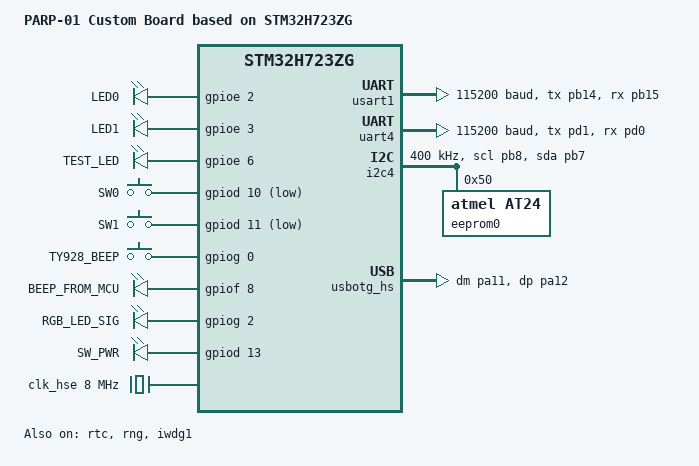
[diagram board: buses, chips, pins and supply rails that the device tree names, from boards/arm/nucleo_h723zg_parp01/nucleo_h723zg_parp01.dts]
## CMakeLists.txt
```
# SPDX-License-Identifier: Apache-2.0

cmake_minimum_required(VERSION 3.20.0)

# Add custom board directory (use list(APPEND) for compatibility with other board roots)
list(APPEND BOARD_ROOT ${CMAKE_CURRENT_LIST_DIR})

find_package(Zephyr REQUIRED HINTS $ENV{ZEPHYR_BASE})
project(parp_01)

target_sources(app PRIVATE
	src/main.c
	src/e310_protocol.c
	src/e310_settings.c
	src/uart_router.c
	src/usb_hid.c
	src/usb_device.c
	src/switch_control.c
	src/shell_login.c
	src/password_storage.c
	src/beep_control.c
	src/rgb_led.c
)
```

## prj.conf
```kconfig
# Application-specific Configuration
# (Board-level hardware configs are in nucleo_h723zg_parp01_defconfig)

# ========================================
# USB Device Stack (New API)
# ========================================
CONFIG_USB_DEVICE_STACK_NEXT=y
CONFIG_USBD_LOG_LEVEL_WRN=y

# UDC buffer pool (increased for HID + CDC ACM composite)
CONFIG_UDC_BUF_COUNT=32
CONFIG_UDC_BUF_POOL_SIZE=4096
# D-cache coherency: USB DMA reads physical memory, not D-cache.
# Without this, STM32H7 D-cache causes intermittent USB data corruption
# (character drops, case errors, transpositions in HID output).
CONFIG_NOCACHE_MEMORY=y
CONFIG_UDC_BUF_FORCE_NOCACHE=y

# ========================================
# Serial & Console (USART1 for early boot printk)
# ========================================
CONFIG_SERIAL=y
CONFIG_CONSOLE=y
CONFIG_UART_CONSOLE=y
CONFIG_UART_LINE_CTRL=y

# ========================================
# USB HID Keyboard + CDC ACM (composite device)
# ========================================
CONFIG_USBD_HID_SUPPORT=y
CONFIG_USBD_CDC_ACM_CLASS=y
CONFIG_CDC_ACM_SERIAL_INITIALIZE_AT_BOOT=n

# ========================================
# Logging
# ========================================
CONFIG_LOG=y
CONFIG_LOG_DEFAULT_LEVEL=3
CONFIG_LOG_MODE_DEFERRED=y
CONFIG_LOG_BUFFER_SIZE=4096
CONFIG_LOG_PROCESS_THREAD_STACK_SIZE=2048

# ========================================
# Shell (USB CDC ACM backend)
# ========================================
CONFIG_SHELL=y
CONFIG_SHELL_BACKEND_SERIAL=y
# CONFIG_SHELL_START_OBSCURED=y  # Disabled for development
CONFIG_SHELL_CMDS_SELECT=y

# ========================================
# GPIO (for buttons and LEDs)
# ========================================
CONFIG_GPIO=y

# ========================================
# Stack sizes (tuned for UART router + parser path)
# ========================================
CONFIG_MAIN_STACK_SIZE=2048
CONFIG_SHELL_STACK_SIZE=3072

# ========================================
# I2C and EEPROM (for password storage)
# ========================================
CONFIG_I2C=y
CONFIG_EEPROM=y
CONFIG_EEPROM_AT24=y


# ========================================
# Watchdog (IWDG - Independent Watchdog)
# ========================================
CONFIG_WATCHDOG=y
CONFIG_WDT_DISABLE_AT_BOOT=y
```

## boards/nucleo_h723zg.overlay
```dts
/*
 * Custom board configuration overlay for PARP-01
 * Based on STM32H723ZG Nucleo board
 */

/ {
	chosen {
		/* Console = UART1 (PB14-TX, PB15-RX) */
		zephyr,console = &usart1;
		zephyr,shell-uart = &usart1;
	};

	/* Custom LEDs */
	leds {
		compatible = "gpio-leds";

		led0: led_0 {
			gpios = <&gpioe 2 GPIO_ACTIVE_HIGH>;
			label = "LED0";
		};

		led1: led_1 {
			gpios = <&gpioe 3 GPIO_ACTIVE_HIGH>;
			label = "LED1";
		};

		test_led: led_test {
			gpios = <&gpioe 6 GPIO_ACTIVE_HIGH>;
			label = "TEST_LED";
		};
	};

	/* Custom GPIO Keys (Switches) */
	gpio_keys {
		compatible = "gpio-keys";

		sw0: switch_0 {
			gpios = <&gpiod 10 GPIO_ACTIVE_LOW>;
			label = "SW0";
		};

		sw1: switch_1 {
			gpios = <&gpiod 11 GPIO_ACTIVE_LOW>;
			label = "SW1";
		};
	};

	aliases {
		led0 = &led0;
		led1 = &led1;
		testled = &test_led;
		sw0 = &sw0;
		sw1 = &sw1;
	};
};

/* Clock Configuration - Custom Board with External Crystals
 * HSE: 8MHz external crystal (NOT bypass - real crystal oscillator)
 * LSE: 32.768kHz external crystal for RTC
 * HSI: Keep enabled as backup
 * HSI48: For USB (matches STM32CubeIDE config)
 */

&clk_hse {
	/delete-property/ hse-bypass;  /* Remove Nucleo's bypass mode */
	clock-frequency = <DT_FREQ_M(8)>;
	status = "okay";
};

&clk_lse {
	clock-frequency = <32768>;
	status = "okay";
};

&clk_lsi {
	status = "okay";
};

&clk_hsi {
	status = "okay";
};

&clk_hsi48 {
	status = "okay";
};

/* PLL Configuration - 400MHz SYSCLK (Stable Configuration)
 *
 * Conservative 400MHz setting for stability:
 *   HSE = 8MHz external crystal
 *   M=4 -> VCO input = 2MHz -> MEDIUM VCO range (150-420MHz)
 *   N=200 -> VCO output = 400MHz -> Within MEDIUM range (safe)
 *   P=1 -> SYSCLK = 400MHz
 *   Q=4 -> 100MHz output for peripherals
 *   R=2 -> 200MHz output
 */
&pll {
	div-m = <4>;
	mul-n = <200>;
	div-p = <1>;
	div-q = <4>;
	div-r = <2>;
	clocks = <&clk_hse>;
	status = "okay";
};

/* RCC Configuration for 400MHz SYSCLK */
&rcc {
	clocks = <&pll>;
	clock-frequency = <DT_FREQ_M(400)>;
	d1cpre = <1>;
	hpre = <2>;    /* HCLK: 200 MHz */
	d1ppre = <2>;  /* APB1: 100 MHz */
	d2ppre1 = <2>; /* APB2: 100 MHz */
	d2ppre2 = <2>; /* APB3: 100 MHz */
	d3ppre = <2>;  /* APB4: 100 MHz */
};

/* UART1 - Console (PB14-TX, PB15-RX) with TX/RX swapped */
&usart1 {
	pinctrl-0 = <&usart1_tx_pb14 &usart1_rx_pb15>;
	pinctrl-names = "default";
	current-speed = <115200>;
	tx-rx-swap;
	status = "okay";
};

/* UART4 (PD0-RX, PD1-TX) */
&uart4 {
	pinctrl-0 = <&uart4_tx_pd1 &uart4_rx_pd0>;
	pinctrl-names = "default";
	current-speed = <115200>;
	status = "okay";
};

/* UART5 (PB6-TX, PB5-RX) */
&uart5 {
	pinctrl-0 = <&uart5_tx_pb6 &uart5_rx_pb5>;
	pinctrl-names = "default";
	current-speed = <115200>;
	status = "okay";
};

/* I2C4 (PB8-SCL, PB7-SDA) */
&i2c4 {
	pinctrl-0 = <&i2c4_scl_pb8 &i2c4_sda_pb7>;
	pinctrl-names = "default";
	status = "okay";
	clock-frequency = <I2C_BITRATE_FAST>; /* 400kHz */

	/* M24C64 EEPROM - 64Kbit (8KB) */
	eeprom0: m24c64@50 {
		compatible = "atmel,at24";
		reg = <0x50>;
		size = <8192>; /* 8KB = 64Kbit */
		pagesize = <32>; /* M24C64 has 32-byte page size */
		address-width = <16>; /* 16-bit addressing for 8KB */
		timeout = <5>;
	};
};

/* SDMMC1 (PC8-D0, PC9-D1, PC10-D2, PC11-D3, PD2-CMD, PC12-CK, PA8-DT) */
&sdmmc1 {
	status = "disabled";
};

/* USB OTG HS (PA9-VBUS, PA11-DM, PA12-DP) */
zephyr_udc0: &usbotg_hs {
	pinctrl-0 = <&usb_otg_hs_dm_pa11 &usb_otg_hs_dp_pa12>;
	pinctrl-names = "default";
	status = "okay";
};

/* RTC with LSE as clock source */
&rtc {
	clocks = <&rcc STM32_CLOCK_BUS_APB4 0x00010000>,
		 <&rcc STM32_SRC_LSE RTC_SEL(1)>; /* Use LSE instead of LSI */
	status = "okay";
};

/* Backup SRAM */
&backup_sram {
	status = "okay";
};

/* Random Number Generator */
&rng {
	status = "okay";
};

/* Disable unused peripherals from base board configuration */

/* Disable USART2 (not used) */
&usart2 {
	status = "disabled";
};

/* Disable USART3 (was default console on Nucleo) */
&usart3 {
	status = "disabled";
};

/* Disable LPUART1 (not used) */
&lpuart1 {
	status = "disabled";
};

/* Disable I2C1 (using I2C4 instead) */
&i2c1 {
	status = "disabled";
};

/* Disable SPI1 (not used) */
&spi1 {
	status = "disabled";
};

/* Disable Ethernet (not used) */
&mac {
	status = "disabled";
};

&mdio {
	status = "disabled";
};

/* Disable FDCAN1 (not used) */
&fdcan1 {
	status = "disabled";
};

/* Disable PWM/Timer12 (not used) */
&timers12 {
	status = "disabled";
};

&pwm12 {
	status = "disabled";
};
```

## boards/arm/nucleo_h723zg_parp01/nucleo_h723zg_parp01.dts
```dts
/dts-v1/;

#include <st/h7/stm32h723Xg.dtsi>
#include <st/h7/stm32h723zgtx-pinctrl.dtsi>
#include <zephyr/dt-bindings/input/input-event-codes.h>

/ {
	model = "PARP-01 Custom Board based on STM32H723ZG";
	compatible = "st,stm32h723zg-nucleo";

	chosen {
		zephyr,console = &usart1;
		zephyr,shell-uart = &cdc_acm_uart0;
		zephyr,sram = &sram0;
		zephyr,flash = &flash0;
		zephyr,dtcm = &dtcm;
		zephyr,code-partition = &slot0_partition;
	};

	/* Custom LEDs */
	leds {
		compatible = "gpio-leds";

		led0: led_0 {
			gpios = <&gpioe 2 GPIO_ACTIVE_HIGH>;
			label = "LED0";
		};

		led1: led_1 {
			gpios = <&gpioe 3 GPIO_ACTIVE_HIGH>;
			label = "LED1";
		};

		test_led: led_test {
			gpios = <&gpioe 6 GPIO_ACTIVE_HIGH>;
			label = "TEST_LED";
		};
	};

	/* Custom GPIO Keys (Switches) */
	gpio_keys {
		compatible = "gpio-keys";

		sw0: switch_0 {
			gpios = <&gpiod 10 (GPIO_ACTIVE_LOW | GPIO_PULL_UP)>;
			label = "SW0";
			zephyr,code = <INPUT_KEY_0>;
		};

		sw1: switch_1 {
			gpios = <&gpiod 11 (GPIO_ACTIVE_LOW | GPIO_PULL_UP)>;
			label = "SW1";
			zephyr,code = <INPUT_KEY_1>;
		};

		e310_beep: e310_beep {
			gpios = <&gpiog 0 GPIO_ACTIVE_HIGH>;
			label = "TY928_BEEP";
			zephyr,code = <INPUT_KEY_2>;
		};
	};

	/* DI/DO pins for beeper and RGB LED */
	dio {
		compatible = "gpio-leds";

		beep_out: beep_out {
			gpios = <&gpiof 8 GPIO_ACTIVE_HIGH>;
			label = "BEEP_FROM_MCU";
		};

		rgb_led_sig: rgb_led_sig {
			gpios = <&gpiog 2 GPIO_ACTIVE_HIGH>;
			label = "RGB_LED_SIG";
		};

		/* PD13 - Switch power supply (must output LOW for SW0/SW1) */
		sw_pwr: sw_pwr {
			gpios = <&gpiod 13 GPIO_ACTIVE_HIGH>;
			label = "SW_PWR";
		};
	};

	aliases {
		led0 = &led0;
		led1 = &led1;
		testled = &test_led;
		sw0 = &sw0;
		sw1 = &sw1;
		eeprom-0 = &eeprom0;
		beep-out = &beep_out;
		rgb-led = &rgb_led_sig;
		e310-beep = &e310_beep;
		sw-pwr = &sw_pwr;
		watchdog0 = &iwdg1;
	};
};

/* Clock Configuration - Custom Board with External Crystals
 * HSE: 8MHz external crystal (NOT bypass - real crystal oscillator)
 * LSE: Not available on this board (disabled)
 * HSI: Keep enabled as backup
 * HSI48: For USB (matches STM32CubeIDE config)
 */

&clk_hse {
	clock-frequency = <DT_FREQ_M(8)>;
	status = "okay";
};

&clk_lse {
	clock-frequency = <32768>;
	status = "disabled";
};

&clk_lsi {
	status = "okay";
};

&clk_hsi {
	status = "okay";
};

&clk_hsi48 {
	status = "okay";
};

/* PLL Configuration - 550MHz SYSCLK (Same as official Nucleo H723ZG)
 *
 * STM32H723 Maximum Frequencies:
 *   - SYSCLK max: 550 MHz
 *   - AHB max: 275 MHz
 *   - APBx max: 137.5 MHz
 *
 * Configuration:
 *   HSE = 8MHz external crystal
 *   M=4 -> VCO input = 2MHz
 *   N=275 -> VCO output = 550MHz
 *   P=1 -> SYSCLK = 550MHz
 *   Q=4 -> 137.5MHz output for peripherals
 *   R=2 -> 275MHz output
 */
&pll {
	div-m = <4>;
	mul-n = <275>;
	div-p = <1>;
	div-q = <4>;
	div-r = <2>;
	clocks = <&clk_hse>;
	status = "okay";
};

/* RCC Configuration for 550MHz SYSCLK (Same as official Nucleo H723ZG)
 *
 * SYSCLK = 550 MHz
 * HCLK = SYSCLK / 2 = 275 MHz
 * APBx = HCLK / 2 = 137.5 MHz
 */
&rcc {
	clocks = <&pll>;
	clock-frequency = <DT_FREQ_M(550)>;
	d1cpre = <1>;
	hpre = <2>;    /* HCLK = SYSCLK / 2 = 275 MHz */
	d1ppre = <2>;  /* APB3 = HCLK / 2 = 137.5 MHz */
	d2ppre1 = <2>; /* APB1 = HCLK / 2 = 137.5 MHz */
	d2ppre2 = <2>; /* APB2 = HCLK / 2 = 137.5 MHz (USART1) */
	d3ppre = <2>;  /* APB4 = HCLK / 2 = 137.5 MHz */
};

/* Power supply configuration */
&pwr {
	power-supply = "ldo";
};

/* UART1 - Console (PB14-TX, PB15-RX) */
&usart1 {
	pinctrl-0 = <&usart1_tx_pb14 &usart1_rx_pb15>;
	pinctrl-names = "default";
	current-speed = <115200>;
	status = "okay";
};

/* UART4 (PD0-RX, PD1-TX) */
&uart4 {
	pinctrl-0 = <&uart4_tx_pd1 &uart4_rx_pd0>;
	pinctrl-names = "default";
	current-speed = <115200>;
	status = "okay";
};

/* I2C4 (PB8-SCL, PB7-SDA) */
&i2c4 {
	pinctrl-0 = <&i2c4_scl_pb8 &i2c4_sda_pb7>;
	pinctrl-names = "default";
	status = "okay";
	clock-frequency = <I2C_BITRATE_FAST>; /* 400kHz */

	/* M24C64 EEPROM - 64Kbit (8KB) */
	eeprom0: m24c64@50 {
		compatible = "atmel,at24";
		reg = <0x50>;
		size = <8192>; /* 8KB = 64Kbit */
		pagesize = <32>; /* M24C64 has 32-byte page size */
		address-width = <16>; /* 16-bit addressing for 8KB */
		timeout = <5>;
	};
};

/* SDMMC1 (PC8-D0, PC9-D1, PC10-D2, PC11-D3, PD2-CMD, PC12-CK, PA8-DT) */
&sdmmc1 {
	status = "disabled";
};

/* USB OTG HS (PA9-VBUS, PA11-DM, PA12-DP) */
zephyr_udc0: &usbotg_hs {
	pinctrl-0 = <&usb_otg_hs_dm_pa11 &usb_otg_hs_dp_pa12>;
	pinctrl-names = "default";
	status = "okay";

	hid_0: hid_0 {
		compatible = "zephyr,hid-device";
		label = "HID_KEYBOARD";
		protocol-code = "keyboard";
		in-report-size = <8>;
		out-report-size = <1>;
		in-polling-period-us = <1000>;
		out-polling-period-us = <1000>;
	};

	/* USB CDC ACM for Shell/Console (composite with HID) */
	cdc_acm_uart0: cdc_acm_uart0 {
		compatible = "zephyr,cdc-acm-uart";
	};
};

/* RTC with LSI as clock source (LSE not available on this board) */
&rtc {
	clocks = <&rcc STM32_CLOCK_BUS_APB4 0x00010000>,
		 <&rcc STM32_SRC_LSI RTC_SEL(2)>;
	status = "okay";
};

/* Backup SRAM */
&backup_sram {
	status = "okay";
};

/* Random Number Generator */
&rng {
	status = "okay";
};


/* Independent Watchdog (IWDG) */
&iwdg1 {
	status = "okay";
};

/* Flash partitions */
&flash0 {
	partitions {
		compatible = "fixed-partitions";
		#address-cells = <1>;
		#size-cells = <1>;

		slot0_partition: partition@0 {
			label = "image-0";
			reg = <0x00000000 DT_SIZE_K(1024)>;
		};
	};
};

/* Disable unused peripherals */

/* Disable USART2 (not used) */
&usart2 {
	status = "disabled";
};

/* Disable USART3 (not used) */
&usart3 {
	status = "disabled";
};

/* Disable LPUART1 (not used) */
&lpuart1 {
	status = "disabled";
};

/* Disable I2C1 (using I2C4 instead) */
&i2c1 {
	status = "disabled";
};

/* Disable SPI1 (not used) */
&spi1 {
	status = "disabled";
};

/* Disable Ethernet (not used) */
&mac {
	status = "disabled";
};

&mdio {
	status = "disabled";
};

/* Disable FDCAN1 (not used) */
&fdcan1 {
	status = "disabled";
};
```

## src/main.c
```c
/*
 * PARP-01 Application
 * - Console/Shell output via USART1 (PB14-TX, PB15-RX)
 * - USB HID Keyboard for EPC output
 * - LED blink on PE6 (TEST_LED)
 * - E310 RFID Protocol Library Testing
 * - SW0 button for inventory control
 * - Shell login security
 */

#include <zephyr/kernel.h>
#include <zephyr/drivers/gpio.h>
#include <zephyr/logging/log.h>
#include <zephyr/usb/usbd.h>
#include <zephyr/shell/shell.h>
#include <zephyr/shell/shell_uart.h>
#include <zephyr/drivers/watchdog.h>

#include <stm32_ll_bus.h>
#include <stm32_ll_pwr.h>

#include "usb_device.h"
#include "usb_hid.h"
#include "uart_router.h"
#include "switch_control.h"
#include "shell_login.h"
#include "password_storage.h"
#include "beep_control.h"
#include "rgb_led.h"
#include "e310_settings.h"

LOG_MODULE_REGISTER(parp01, LOG_LEVEL_INF);

/* E310 Protocol Library Test */
extern void e310_run_tests(void);

static struct usbd_context *usb_ctx;
static uart_router_t uart_router;

/**
 * @brief USB OTG HS pre-init workaround for STM32H723
 *
 * Performs an RCC peripheral reset of the USB OTG HS block before the
 * Zephyr UDC driver initializes it.  This clears stale register state
 * left over from a previous boot or soft-reset, which can cause
 * USB_CoreReset() inside HAL_PCD_Init() to time out waiting for the
 * GRSTCTL.AHBIDL or GRSTCTL.CSRST bits.
 *
 * This is a known issue on STM32H7 series:
 *   - https://github.com/STMicroelectronics/STM32CubeH7/issues/163
 *   - ST FAQ: "Troubleshooting a USB core soft reset stuck on an STM32"
 *
 * Must be called BEFORE usbd_enable().
 */
static void usb_otg_hs_pre_init(void)
{
	LL_AHB1_GRP1_EnableClock(LL_AHB1_GRP1_PERIPH_USB1OTGHS);
	LL_AHB1_GRP1_ForceReset(LL_AHB1_GRP1_PERIPH_USB1OTGHS);
	k_busy_wait(10);
	LL_AHB1_GRP1_ReleaseReset(LL_AHB1_GRP1_PERIPH_USB1OTGHS);
	k_busy_wait(100);

	printk("USB OTG HS peripheral reset done\n");
}

/**
 * @brief Print application banner
 */
static void print_banner(void)
{
	printk("\n");
	printk("========================================\n");
	printk("  PARP-01 Custom Board Application\n");
	printk("========================================\n");
	printk("SYSCLK: 550 MHz, HCLK: 275 MHz\n");
	printk("Console: USART1 (PB14-TX, PB15-RX)\n");
	printk("LED: PE6 (TEST_LED)\n");
	printk("SW0: Inventory On/Off toggle\n");
	printk("========================================\n");
	printk("\n");
}

static void usb_msg_cb(struct usbd_context *const ctx,
		       const struct usbd_msg *const msg)
{
	LOG_INF("USBD message: %s", usbd_msg_type_string(msg->type));

	if (usbd_can_detect_vbus(ctx)) {
		if (msg->type == USBD_MSG_VBUS_READY) {
			if (usbd_enable(ctx)) {
				LOG_ERR("Failed to enable USB device");
			}
		}

		if (msg->type == USBD_MSG_VBUS_REMOVED) {
			if (usbd_disable(ctx)) {
				LOG_ERR("Failed to disable USB device");
			}
		}
	}
}

/**
 * @brief Inventory toggle callback from switch
 *
 * Called when SW0 is pressed to toggle inventory on/off.
 * - Inventory ON:  HID keyboard enabled (RFID pad mode)
 * - Inventory OFF: HID keyboard disabled (Debug mode)
 */
static void on_inventory_toggle(bool start)
{
	if (start) {
		shell_login_force_logout();
		int ret = uart_router_start_inventory(&uart_router);
		if (ret < 0) {
			switch_control_set_inventory_state(false);
			rgb_led_set_inventory_status(false);
			LOG_ERR("Inventory start failed: %d", ret);
		}
	} else {
		uart_router_stop_inventory(&uart_router);
		uart_router_set_mode(&uart_router, ROUTER_MODE_IDLE);
	}
}

/* LED device tree reference */
#define TEST_LED_NODE DT_ALIAS(testled)

#if !DT_NODE_EXISTS(TEST_LED_NODE)
#error "testled alias not found in device tree. Please define it in board DTS."
#endif

static const struct gpio_dt_spec test_led = GPIO_DT_SPEC_GET(TEST_LED_NODE, gpios);

int main(void)
{
	int ret;
	bool led_state = false;
	bool last_inv_state = false;
	int64_t last_led_toggle = 0;

	/* === EARLY DEBUG: Print immediately to verify boot === */
	printk("\n\n*** PARP-01 BOOT START ***\n");

	/* Configure LED GPIO first (before any USB init) */
	if (!gpio_is_ready_dt(&test_led)) {
		printk("ERROR: LED GPIO not ready!\n");
		LOG_ERR("LED GPIO device not ready");
		k_sleep(K_FOREVER);
		return -ENODEV;
	}
	printk("LED GPIO ready\n");

	ret = gpio_pin_configure_dt(&test_led, GPIO_OUTPUT_INACTIVE);
	if (ret < 0) {
		printk("ERROR: LED config failed: %d\n", ret);
		LOG_ERR("Failed to configure LED GPIO: %d", ret);
		k_sleep(K_FOREVER);
		return ret;
	}
	printk("LED configured\n");

	/* === Watchdog (IWDG) === */
	const struct device *const wdt = DEVICE_DT_GET(DT_ALIAS(watchdog0));
	int wdt_channel_id = -1;

	if (!device_is_ready(wdt)) {
		printk("ERROR: Watchdog device not ready!\n");
		LOG_ERR("Watchdog device not ready");
	} else {
		struct wdt_timeout_cfg wdt_config = {
			.flags = WDT_FLAG_RESET_SOC,
			.window.min = 0U,
			.window.max = 2000U,
			.callback = NULL,
		};

		wdt_channel_id = wdt_install_timeout(wdt, &wdt_config);
		if (wdt_channel_id < 0) {
			printk("ERROR: WDT install timeout failed: %d\n", wdt_channel_id);
			LOG_ERR("WDT install timeout failed: %d", wdt_channel_id);
		} else {
			ret = wdt_setup(wdt, WDT_OPT_PAUSE_HALTED_BY_DBG);
			if (ret < 0) {
				printk("ERROR: WDT setup failed: %d\n", ret);
				LOG_ERR("WDT setup failed: %d", ret);
				wdt_channel_id = -1;
			} else {
				printk("Watchdog started (2000 ms timeout)\n");
				LOG_INF("IWDG watchdog active: 2000 ms timeout");
			}
		}
	}

	/* Blink LED once to show we're alive */
	gpio_pin_set_dt(&test_led, 1);
	k_msleep(200);
	gpio_pin_set_dt(&test_led, 0);
	printk("LED blinked once\n");

	/* Reset USB OTG HS peripheral BEFORE stack init to clear stale state */
	usb_otg_hs_pre_init();

	printk("Init USB HID...\n");
	ret = parp_usb_hid_init();
	if (ret < 0) {
		printk("USB HID init failed: %d (continuing anyway)\n", ret);
		LOG_ERR("Failed to init USB HID: %d", ret);
	} else {
		printk("USB HID OK\n");
	}

	printk("Init USB device stack...\n");
	usb_ctx = usb_device_init(usb_msg_cb);
	if (!usb_ctx) {
		printk("USB device init failed (continuing anyway)\n");
		LOG_ERR("Failed to initialize USB device stack");
	} else {
		printk("USB device stack OK\n");

		if (!usbd_can_detect_vbus(usb_ctx)) {
			ret = usbd_enable(usb_ctx);
			if (ret) {
				printk("USB enable failed: %d\n", ret);
				LOG_ERR("Failed to enable USB device: %d", ret);
			} else {
				printk("USB enabled\n");
			}
		}
	}

	/* Initialize UART router */
	printk("Init UART router...\n");
	ret = uart_router_init(&uart_router);
	if (ret < 0) {
		printk("UART router init failed: %d (continuing anyway)\n", ret);
		LOG_ERR("Failed to init UART router: %d", ret);
	} else {
		printk("UART router OK\n");
		ret = uart_router_start(&uart_router);
		if (ret < 0) {
			printk("UART router start failed: %d\n", ret);
			LOG_ERR("Failed to start UART router: %d", ret);
		} else {
			printk("UART router started\n");
		}
	}

	/* Initialize switch control */
	ret = switch_control_init();
	if (ret < 0) {
		LOG_WRN("Switch control init failed: %d (SW0 won't work)", ret);
	} else {
		switch_control_set_inventory_callback(on_inventory_toggle);
	}

	/* Initialize password storage (must be before shell_login_init) */
	ret = password_storage_init();
	if (ret < 0) {
		LOG_WRN("Password storage init failed: %d", ret);
	}

	ret = e310_settings_init();
	if (ret < 0) {
		LOG_WRN("E310 settings init failed: %d (using defaults)", ret);
	}

	/* Apply persisted typing speed to USB HID */
	uint16_t saved_speed = e310_settings_get_typing_speed();
	if (saved_speed >= HID_TYPING_SPEED_MIN && saved_speed <= HID_TYPING_SPEED_MAX) {
		usb_hid_set_typing_speed(saved_speed);
		LOG_INF("Typing speed loaded from EEPROM: %u CPM", saved_speed);
	}

	/* Initialize shell login - locks shell until 'login <password>' */
	/* TODO: Re-enable for production */
#if 0
	ret = shell_login_init();
	if (ret < 0) {
		LOG_WRN("Shell login init failed: %d", ret);
	}
#endif

	/* Initialize beep control */
	ret = beep_control_init();
	if (ret < 0) {
		LOG_WRN("Beep control init failed: %d (beeper won't work)", ret);
	}

	/* Initialize RGB LED */
	ret = rgb_led_init();
	if (ret < 0) {
		LOG_WRN("RGB LED init failed: %d", ret);
	} else {
		rgb_led_set_inventory_status(false);
	}


	/* Apply remaining persisted settings (modules must be initialized first) */
	beep_control_set_pulse_ms(e310_settings_get_beep_pulse());
	beep_control_set_filter_ms(e310_settings_get_beep_filter());
	uart_router.epc_filter.debounce_ms =
		(uint32_t)e310_settings_get_epc_debounce() * 1000;
	uart_router.inventory_interval_ms =
		e310_settings_get_inventory_interval();
	rgb_led_set_brightness(e310_settings_get_rgb_brightness());
	LOG_INF("Persisted settings applied from EEPROM");

	print_banner();

	/* E310 tests disabled - was causing stack overflow
	e310_run_tests();
	printk("\n");
	*/

	/* Deferred auto-start: wait for USB HID ready, then connect E310.
	 * Must run inside main loop so uart_router_process() is active
	 * and can parse E310 responses (wait_for_e310_response depends on it). */
	bool auto_started = false;
	int64_t usb_ready_since = 0;
	const int64_t boot_time = k_uptime_get();
	#define AUTO_START_USB_SETTLE_MS  2000
	#define AUTO_START_MAX_WAIT_MS   15000

	LOG_INF("Starting main loop (auto-start after USB ready, SW0 to toggle)");

	while (1) {
		uart_router_process(&uart_router);
		rgb_led_poll();
		k_msleep(10);

		/* Feed watchdog every loop iteration (~10 ms) */
		if (wdt_channel_id >= 0) {
			wdt_feed(wdt, wdt_channel_id);
		}

		int64_t now = k_uptime_get();

		if (!auto_started) {
			bool usb_ready = usb_hid_is_ready();
			int64_t elapsed = now - boot_time;

			if (usb_ready && usb_ready_since == 0) {
				usb_ready_since = now;
				LOG_INF("USB HID ready, E310 auto-start in %d ms",
					AUTO_START_USB_SETTLE_MS);
			}

			bool usb_trigger = usb_ready_since > 0 &&
				(now - usb_ready_since) >= AUTO_START_USB_SETTLE_MS;
			bool timeout_trigger = elapsed >= AUTO_START_MAX_WAIT_MS;

			if (usb_trigger || timeout_trigger) {
				auto_started = true;
				if (timeout_trigger && !usb_trigger) {
					LOG_WRN("USB HID not ready after %lld ms, "
						 "starting E310 anyway", elapsed);
				}
				LOG_INF("Auto-starting E310 inventory...");
				ret = uart_router_start_inventory(&uart_router);
				if (ret < 0) {
					LOG_WRN("E310 auto-start failed: %d "
						 "(use SW0 or 'e310 start')", ret);
					uart_router_set_mode(&uart_router,
							     ROUTER_MODE_IDLE);
					switch_control_set_inventory_state(false);
					rgb_led_set_inventory_status(false);
				}
			}
		}

		static int64_t last_login_check = 0;
		if (now - last_login_check >= 100) {
			last_login_check = now;
			shell_login_check_timeout();
		}

		/* Toggle LED every 500ms */
		if ((now - last_led_toggle) >= 500) {
			last_led_toggle = now;

			led_state = !led_state;
			ret = gpio_pin_set_dt(&test_led, led_state);
			if (ret < 0) {
				LOG_WRN("Failed to set LED state: %d", ret);
			}
		}

		/* Print only on inventory state change */
		bool cur_inv_state = switch_control_is_inventory_running();
		if (cur_inv_state != last_inv_state) {
			last_inv_state = cur_inv_state;
			printk("Inventory: %s\n", cur_inv_state ? "ON" : "OFF");
		}
	}

	return 0;
}
```

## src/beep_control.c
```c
/**
 * @file beep_control.c
 * @brief Beeper Control Implementation
 *
 * @copyright Copyright (c) 2026 PARP
 */

#include "beep_control.h"
#include <zephyr/kernel.h>
#include <zephyr/device.h>
#include <zephyr/drivers/gpio.h>
#include <zephyr/logging/log.h>
#include <zephyr/shell/shell.h>
#include <stdlib.h>
#include "e310_settings.h"

LOG_MODULE_REGISTER(beep_control, LOG_LEVEL_INF);

/* Device tree references */
#define BEEP_OUT_NODE DT_ALIAS(beep_out)
#define E310_BEEP_NODE DT_ALIAS(e310_beep)

#if !DT_NODE_EXISTS(BEEP_OUT_NODE)
#error "beep-out alias not found in device tree"
#endif

#if !DT_NODE_EXISTS(E310_BEEP_NODE)
#error "e310-beep alias not found in device tree"
#endif

static const struct gpio_dt_spec beep_out = GPIO_DT_SPEC_GET(BEEP_OUT_NODE, gpios);
static const struct gpio_dt_spec e310_beep = GPIO_DT_SPEC_GET(E310_BEEP_NODE, gpios);

/* State variables */
static uint16_t beep_pulse_ms = BEEP_DEFAULT_PULSE_MS;
static uint16_t beep_filter_ms = BEEP_DEFAULT_FILTER_MS;
static bool e310_input_enabled = true;
static uint32_t beep_count;
static int64_t last_beep_time;
/* Initialization flag - volatile for ISR/main thread synchronization */
static volatile bool initialized;

/* GPIO callback for E310 input */
static struct gpio_callback e310_beep_cb_data;

/* Work queue for beep pulse */
static struct k_work_delayable beep_off_work;
static struct k_work beep_trigger_work;

/**
 * @brief Turn off beeper (work handler)
 */
static void beep_off_handler(struct k_work *work)
{
	ARG_UNUSED(work);
	gpio_pin_set_dt(&beep_out, 0);
}

/**
 * @brief Execute beep pulse (work handler for ISR context)
 */
static void beep_trigger_handler(struct k_work *work)
{
	ARG_UNUSED(work);

	int64_t now = k_uptime_get();

	/* Apply duplicate filter */
	if ((now - last_beep_time) < beep_filter_ms) {
		LOG_DBG("Beep filtered (within %u ms window)", beep_filter_ms);
		return;
	}

	last_beep_time = now;
	beep_count++;

	/* Turn on beeper */
	gpio_pin_set_dt(&beep_out, 1);

	/* Schedule turn off */
	k_work_schedule(&beep_off_work, K_MSEC(beep_pulse_ms));

	LOG_DBG("Beep triggered (count=%u, pulse=%u ms)", beep_count, beep_pulse_ms);
}

/**
 * @brief E310 beep input interrupt callback (PG0 rising edge)
 */
static void e310_beep_isr(const struct device *dev,
			  struct gpio_callback *cb, uint32_t pins)
{
	ARG_UNUSED(dev);
	ARG_UNUSED(cb);
	ARG_UNUSED(pins);

	if (!e310_input_enabled) {
		return;
	}

	/* Schedule beep trigger from work queue (not ISR context) */
	k_work_submit(&beep_trigger_work);
}

int beep_control_init(void)
{
	int ret;

	/* Check beep output GPIO */
	if (!gpio_is_ready_dt(&beep_out)) {
		LOG_ERR("Beep output GPIO device not ready");
		return -ENODEV;
	}

	/* Configure beep output as LOW initially */
	ret = gpio_pin_configure_dt(&beep_out, GPIO_OUTPUT_INACTIVE);
	if (ret < 0) {
		LOG_ERR("Failed to configure beep output GPIO: %d", ret);
		return ret;
	}

	/* Check E310 beep input GPIO */
	if (!gpio_is_ready_dt(&e310_beep)) {
		LOG_ERR("E310 beep input GPIO device not ready");
		return -ENODEV;
	}

	/* Configure E310 beep input */
	ret = gpio_pin_configure_dt(&e310_beep, GPIO_INPUT);
	if (ret < 0) {
		LOG_ERR("Failed to configure E310 beep input GPIO: %d", ret);
		return ret;
	}

	/*
	 * IMPORTANT: Register callback BEFORE enabling interrupt.
	 * This prevents spurious interrupts from being missed or
	 * causing undefined behavior if an edge occurs immediately.
	 */

	/* 1. Initialize and add GPIO callback first */
	gpio_init_callback(&e310_beep_cb_data, e310_beep_isr, BIT(e310_beep.pin));
	ret = gpio_add_callback(e310_beep.port, &e310_beep_cb_data);
	if (ret < 0) {
		LOG_ERR("Failed to add E310 beep callback: %d", ret);
		return ret;
	}

	/* 2. Then configure interrupt on rising edge (E310 outputs HIGH when tag read) */
	ret = gpio_pin_interrupt_configure_dt(&e310_beep, GPIO_INT_EDGE_TO_ACTIVE);
	if (ret < 0) {
		LOG_ERR("Failed to configure E310 beep interrupt: %d", ret);
		gpio_remove_callback(e310_beep.port, &e310_beep_cb_data);
		return ret;
	}

	/* Initialize work items */
	k_work_init_delayable(&beep_off_work, beep_off_handler);
	k_work_init(&beep_trigger_work, beep_trigger_handler);

	initialized = true;

	LOG_INF("Beep control initialized");
	LOG_INF("  Output: PF8 (BEEP_FROM_MCU)");
	LOG_INF("  Input: PG0 (TY928_BEEP from E310)");
	LOG_INF("  Pulse: %u ms, Filter: %u ms", beep_pulse_ms, beep_filter_ms);

	return 0;
}

void beep_control_trigger(void)
{
	if (!initialized) {
		return;
	}

	/* Use work queue for thread safety */
	k_work_submit(&beep_trigger_work);
}

void beep_control_trigger_force(void)
{
	if (!initialized) {
		return;
	}

	/*
	 * Direct trigger bypassing filter.
	 * Use irq_lock to prevent race condition with ISR context
	 * accessing beep_count and last_beep_time.
	 */
	unsigned int key = irq_lock();
	beep_count++;
	last_beep_time = k_uptime_get();
	irq_unlock(key);

	gpio_pin_set_dt(&beep_out, 1);
	k_work_schedule(&beep_off_work, K_MSEC(beep_pulse_ms));

	LOG_DBG("Beep forced (count=%u)", beep_count);
}

void beep_control_set_pulse_ms(uint16_t ms)
{
	if (ms < BEEP_MIN_PULSE_MS) {
		ms = BEEP_MIN_PULSE_MS;
	} else if (ms > BEEP_MAX_PULSE_MS) {
		ms = BEEP_MAX_PULSE_MS;
	}
	beep_pulse_ms = ms;
	LOG_INF("Beep pulse set to %u ms", beep_pulse_ms);
}

uint16_t beep_control_get_pulse_ms(void)
{
	return beep_pulse_ms;
}

void beep_control_set_filter_ms(uint16_t ms)
{
	if (ms < BEEP_MIN_FILTER_MS) {
		ms = BEEP_MIN_FILTER_MS;
	} else if (ms > BEEP_MAX_FILTER_MS) {
		ms = BEEP_MAX_FILTER_MS;
	}
	beep_filter_ms = ms;
	LOG_INF("Beep filter set to %u ms", beep_filter_ms);
}

uint16_t beep_control_get_filter_ms(void)
{
	return beep_filter_ms;
}

void beep_control_enable_e310_input(bool enable)
{
	e310_input_enabled = enable;
	LOG_INF("E310 beep input %s", enable ? "enabled" : "disabled");
}

bool beep_control_is_e310_input_enabled(void)
{
	return e310_input_enabled;
}

uint32_t beep_control_get_count(void)
{
	return beep_count;
}

void beep_control_reset_count(void)
{
	beep_count = 0;
}

/* ========================================================================
 * Shell Commands
 * ======================================================================== */

static int cmd_beep_test(const struct shell *sh, size_t argc, char **argv)
{
	ARG_UNUSED(argc);
	ARG_UNUSED(argv);

	if (!initialized) {
		shell_error(sh, "Beep control not initialized");
		return -ENODEV;
	}

	beep_control_trigger_force();
	shell_print(sh, "Beep test triggered (pulse=%u ms)", beep_pulse_ms);

	return 0;
}

static int cmd_beep_pulse(const struct shell *sh, size_t argc, char **argv)
{
	if (argc < 2) {
		shell_print(sh, "Current pulse width: %u ms", beep_pulse_ms);
		shell_print(sh, "Usage: beep pulse <10-1000>");
		return 0;
	}

	int ms = atoi(argv[1]);
	if (ms < BEEP_MIN_PULSE_MS || ms > BEEP_MAX_PULSE_MS) {
		shell_error(sh, "Invalid pulse: %d (must be %d-%d)",
			    ms, BEEP_MIN_PULSE_MS, BEEP_MAX_PULSE_MS);
		return -EINVAL;
	}

	beep_control_set_pulse_ms((uint16_t)ms);
	/* Persist to EEPROM */
	int ret = e310_settings_set_beep_pulse((uint16_t)ms);
	shell_print(sh, "Pulse width set to %u ms%s",
		    beep_pulse_ms, (ret < 0) ? "" : " (saved)");
	if (ret < 0) {
		shell_warn(sh, "EEPROM save failed: %d (change is temporary)", ret);
	}

	return 0;
}

static int cmd_beep_filter(const struct shell *sh, size_t argc, char **argv)
{
	if (argc < 2) {
		shell_print(sh, "Current filter time: %u ms", beep_filter_ms);
		shell_print(sh, "Usage: beep filter <100-10000>");
		return 0;
	}

	int ms = atoi(argv[1]);
	if (ms < BEEP_MIN_FILTER_MS || ms > BEEP_MAX_FILTER_MS) {
		shell_error(sh, "Invalid filter: %d (must be %d-%d)",
			    ms, BEEP_MIN_FILTER_MS, BEEP_MAX_FILTER_MS);
		return -EINVAL;
	}

	beep_control_set_filter_ms((uint16_t)ms);
	/* Persist to EEPROM */
	int ret = e310_settings_set_beep_filter((uint16_t)ms);
	shell_print(sh, "Filter time set to %u ms%s",
		    beep_filter_ms, (ret < 0) ? "" : " (saved)");
	if (ret < 0) {
		shell_warn(sh, "EEPROM save failed: %d (change is temporary)", ret);
	}

	return 0;
}

static int cmd_beep_e310(const struct shell *sh, size_t argc, char **argv)
{
	if (argc < 2) {
		shell_print(sh, "E310 input: %s", e310_input_enabled ? "enabled" : "disabled");
		shell_print(sh, "Usage: beep e310 <on|off>");
		return 0;
	}

	if (strcmp(argv[1], "on") == 0) {
		beep_control_enable_e310_input(true);
		shell_print(sh, "E310 beep input enabled");
	} else if (strcmp(argv[1], "off") == 0) {
		beep_control_enable_e310_input(false);
		shell_print(sh, "E310 beep input disabled");
	} else {
		shell_error(sh, "Invalid argument: %s (use on/off)", argv[1]);
		return -EINVAL;
	}

	return 0;
}

static int cmd_beep_status(const struct shell *sh, size_t argc, char **argv)
{
	ARG_UNUSED(argc);
	ARG_UNUSED(argv);

	shell_print(sh, "=== Beep Control Status ===");
	shell_print(sh, "Initialized: %s", initialized ? "yes" : "no");
	shell_print(sh, "Pulse width: %u ms", beep_pulse_ms);
	shell_print(sh, "Filter time: %u ms", beep_filter_ms);
	shell_print(sh, "E310 input: %s", e310_input_enabled ? "enabled" : "disabled");
	shell_print(sh, "Beep count: %u", beep_count);

	return 0;
}

SHELL_STATIC_SUBCMD_SET_CREATE(sub_beep,
	SHELL_CMD(test, NULL, "Trigger beep test", cmd_beep_test),
	SHELL_CMD(pulse, NULL, "Get/set pulse width (ms)", cmd_beep_pulse),
	SHELL_CMD(filter, NULL, "Get/set filter time (ms)", cmd_beep_filter),
	SHELL_CMD(e310, NULL, "Enable/disable E310 input", cmd_beep_e310),
	SHELL_CMD(status, NULL, "Show beep status", cmd_beep_status),
	SHELL_SUBCMD_SET_END
);

SHELL_CMD_REGISTER(beep, &sub_beep, "Beeper control commands", NULL);
```

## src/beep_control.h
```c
/**
 * @file beep_control.h
 * @brief Beeper Control with E310 Input Detection
 *
 * Provides beeper output control (PF8) with duplicate filtering,
 * and E310 beep signal input detection (PG0).
 *
 * @copyright Copyright (c) 2026 PARP
 */

#ifndef BEEP_CONTROL_H_
#define BEEP_CONTROL_H_

#include <stdbool.h>
#include <stdint.h>

#ifdef __cplusplus
extern "C" {
#endif

/**
 * @defgroup beep_control Beeper Control
 * @{
 */

/* ========================================================================
 * Constants
 * ======================================================================== */

/** Default beep pulse width in milliseconds */
#define BEEP_DEFAULT_PULSE_MS     100

/** Default duplicate filter time in milliseconds */
#define BEEP_DEFAULT_FILTER_MS    1000

/** Minimum pulse width */
#define BEEP_MIN_PULSE_MS         10

/** Maximum pulse width */
#define BEEP_MAX_PULSE_MS         1000

/** Minimum filter time */
#define BEEP_MIN_FILTER_MS        100

/** Maximum filter time */
#define BEEP_MAX_FILTER_MS        10000

/* ========================================================================
 * API Functions
 * ======================================================================== */

/**
 * @brief Initialize beep control module
 *
 * Configures PF8 as beeper output and PG0 as E310 beep input with interrupt.
 *
 * @return 0 on success, negative errno on error
 */
int beep_control_init(void);

/**
 * @brief Trigger beeper output once
 *
 * Outputs a single beep pulse on PF8. Applies duplicate filtering
 * if called within the filter time window.
 */
void beep_control_trigger(void);

/**
 * @brief Force trigger beeper (bypass filter)
 *
 * Outputs a beep pulse without duplicate filtering.
 */
void beep_control_trigger_force(void);

/**
 * @brief Set beep pulse width
 *
 * @param ms Pulse width in milliseconds (10-1000)
 */
void beep_control_set_pulse_ms(uint16_t ms);

/**
 * @brief Get current beep pulse width
 *
 * @return Pulse width in milliseconds
 */
uint16_t beep_control_get_pulse_ms(void);

/**
 * @brief Set duplicate filter time
 *
 * Beep requests within this time window from the last beep are ignored.
 *
 * @param ms Filter time in milliseconds (100-10000)
 */
void beep_control_set_filter_ms(uint16_t ms);

/**
 * @brief Get current duplicate filter time
 *
 * @return Filter time in milliseconds
 */
uint16_t beep_control_get_filter_ms(void);

/**
 * @brief Enable/disable E310 beep input (PG0)
 *
 * When enabled, rising edge on PG0 will trigger the beeper.
 *
 * @param enable true to enable, false to disable
 */
void beep_control_enable_e310_input(bool enable);

/**
 * @brief Check if E310 input is enabled
 *
 * @return true if enabled, false otherwise
 */
bool beep_control_is_e310_input_enabled(void);

/**
 * @brief Get beep trigger count
 *
 * @return Number of beeps triggered since init
 */
uint32_t beep_control_get_count(void);

/**
 * @brief Reset beep trigger count
 */
void beep_control_reset_count(void);

/** @} */ /* End of beep_control group */

#ifdef __cplusplus
}
#endif

#endif /* BEEP_CONTROL_H_ */
```

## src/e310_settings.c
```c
/*
 * SPDX-License-Identifier: Apache-2.0
 * E310 RFID Reader Settings - EEPROM Persistent Storage
 */

#include "e310_settings.h"
#include <zephyr/kernel.h>
#include <zephyr/device.h>
#include <zephyr/drivers/eeprom.h>
#include <zephyr/logging/log.h>
#include <zephyr/shell/shell.h>
#include <string.h>

LOG_MODULE_REGISTER(e310_settings, LOG_LEVEL_INF);

#define CRC_DATA_SIZE  offsetof(e310_settings_t, crc16)

BUILD_ASSERT(sizeof(e310_settings_t) == 46,
	     "e310_settings_t size changed — update EEPROM layout!");
BUILD_ASSERT(offsetof(e310_settings_t, crc16) == 44,
	     "CRC field offset changed — EEPROM binary compat broken!");
static e310_settings_t settings;
static bool eeprom_available;
static const struct device *eeprom_dev;

static uint16_t crc16_ccitt(const uint8_t *data, size_t len)
{
	uint16_t crc = 0xFFFF;

	for (size_t i = 0; i < len; i++) {
		crc ^= (uint16_t)data[i] << 8;
		for (int j = 0; j < 8; j++) {
			if (crc & 0x8000) {
				crc = (crc << 1) ^ 0x1021;
			} else {
				crc <<= 1;
			}
		}
	}

	return crc;
}

static void load_defaults(void)
{
	memset(&settings, 0, sizeof(settings));
	settings.magic = E310_SETTINGS_MAGIC;
	settings.version = E310_SETTINGS_VERSION;
	settings.flags = 0;
	settings.rf_power = E310_DEFAULT_RF_POWER;
	settings.antenna_config = E310_DEFAULT_ANTENNA;
	settings.freq_region = E310_DEFAULT_FREQ_REGION;
	settings.freq_start = E310_DEFAULT_FREQ_START;
	settings.freq_end = E310_DEFAULT_FREQ_END;
	settings.inventory_time = E310_DEFAULT_INVENTORY_TIME;
	settings.reader_addr = E310_DEFAULT_READER_ADDR;
	settings.typing_speed = E310_DEFAULT_TYPING_SPEED;
	settings.beep_pulse_ms = E310_DEFAULT_BEEP_PULSE_MS;
	settings.beep_filter_ms = E310_DEFAULT_BEEP_FILTER_MS;
	settings.epc_debounce_sec = E310_DEFAULT_EPC_DEBOUNCE_SEC;
	settings.inventory_interval_ms = E310_DEFAULT_INV_INTERVAL_MS;
	settings.rgb_brightness = E310_DEFAULT_RGB_BRIGHTNESS;
}

static int eeprom_read_settings(void)
{
	if (!eeprom_dev) {
		return -ENODEV;
	}

	return eeprom_read(eeprom_dev, E310_SETTINGS_EEPROM_OFFSET,
			   &settings, sizeof(settings));
}

static int eeprom_write_settings(void)
{
	if (!eeprom_dev) {
		return -ENODEV;
	}

	return eeprom_write(eeprom_dev, E310_SETTINGS_EEPROM_OFFSET,
			    &settings, sizeof(settings));
}

static int eeprom_write_verified(void)
{
	e310_settings_t verify;
	int ret;

	ret = eeprom_write_settings();
	if (ret < 0) {
		return ret;
	}

	k_msleep(5);

	ret = eeprom_read(eeprom_dev, E310_SETTINGS_EEPROM_OFFSET,
			  &verify, sizeof(verify));
	if (ret < 0) {
		LOG_ERR("Settings verify read failed: %d", ret);
		return ret;
	}

	if (memcmp(&settings, &verify, sizeof(settings)) != 0) {
		LOG_ERR("Settings write verification failed");
		return -EIO;
	}

	return 0;
}

static void update_crc(void)
{
	settings.crc16 = crc16_ccitt((const uint8_t *)&settings, CRC_DATA_SIZE);
}

static bool verify_crc(void)
{
	uint16_t calc_crc = crc16_ccitt((const uint8_t *)&settings, CRC_DATA_SIZE);
	return settings.crc16 == calc_crc;
}

static int init_eeprom_defaults(void)
{
	int ret;

	load_defaults();
	update_crc();

	ret = eeprom_write_verified();
	if (ret < 0) {
		LOG_ERR("Failed to write settings defaults: %d", ret);
		return ret;
	}

	LOG_INF("E310 settings initialized with defaults");
	return 0;
}

int e310_settings_init(void)
{
	int ret;

	eeprom_dev = DEVICE_DT_GET(DT_ALIAS(eeprom_0));
	if (!device_is_ready(eeprom_dev)) {
		LOG_WRN("EEPROM not ready, using default settings");
		eeprom_dev = NULL;
		eeprom_available = false;
		load_defaults();
		return 0;
	}

	ret = eeprom_read_settings();
	if (ret < 0) {
		LOG_ERR("Failed to read settings: %d", ret);
		eeprom_available = false;
		load_defaults();
		return 0;
	}

	if (settings.magic != E310_SETTINGS_MAGIC) {
		LOG_INF("E310 settings not initialized (magic=0x%08x)", settings.magic);
		ret = init_eeprom_defaults();
		if (ret < 0) {
			eeprom_available = false;
			load_defaults();
			return 0;
		}
		eeprom_available = true;
		return 0;
	}

	/*
	 * Version migration BEFORE CRC check.
	 * Old firmware had a CRC bug (CRC covered the CRC field itself),
	 * so v3 data always has an invalid CRC.  We must migrate by
	 * version first, then recompute CRC, to preserve existing settings.
	 */
	if (settings.version != E310_SETTINGS_VERSION) {
		LOG_WRN("Settings version mismatch (got %d, expected %d), migrating",
			settings.version, E310_SETTINGS_VERSION);
		/* Fields from v0x03 and earlier are at the same offsets, so they
		 * survive the read.  Only set new v0x04 fields to defaults. */
		settings.beep_pulse_ms = E310_DEFAULT_BEEP_PULSE_MS;
		settings.beep_filter_ms = E310_DEFAULT_BEEP_FILTER_MS;
		settings.epc_debounce_sec = E310_DEFAULT_EPC_DEBOUNCE_SEC;
		settings.inventory_interval_ms = E310_DEFAULT_INV_INTERVAL_MS;
		settings.rgb_brightness = E310_DEFAULT_RGB_BRIGHTNESS;
		settings.version = E310_SETTINGS_VERSION;
		update_crc();
		ret = eeprom_write_verified();
		if (ret < 0) {
			LOG_ERR("Migration write failed: %d", ret);
			eeprom_available = false;
			load_defaults();
			return 0;
		}
		LOG_INF("Settings migrated to v%d", E310_SETTINGS_VERSION);
	} else if (!verify_crc()) {
		/* CRC check only for current-version data (migration recalculates CRC) */
		LOG_ERR("E310 settings CRC mismatch");
		LOG_WRN("Using default settings due to CRC error");
		ret = init_eeprom_defaults();
		if (ret < 0) {
			eeprom_available = false;
			load_defaults();
			return 0;
		}
	}

	eeprom_available = true;
	LOG_INF("E310 settings loaded: RF=%d dBm, Ant=0x%02x, Freq=%d/%d-%d, InvTime=%d, Speed=%d",
		settings.rf_power, settings.antenna_config,
		settings.freq_region, settings.freq_start, settings.freq_end,
		settings.inventory_time, settings.typing_speed);

	return 0;
}

const e310_settings_t *e310_settings_get(void)
{
	return &settings;
}

int e310_settings_save(void)
{
	int ret;

	if (!eeprom_available) {
		LOG_WRN("EEPROM not available, settings in RAM only");
		return 0;
	}

	settings.flags |= E310_FLAG_SETTINGS_CHANGED;
	update_crc();

	ret = eeprom_write_verified();
	if (ret < 0) {
		LOG_ERR("Failed to save settings: %d", ret);
		return ret;
	}

	LOG_DBG("Settings saved to EEPROM");
	return 0;
}

int e310_settings_reset(void)
{
	int ret;

	load_defaults();

	if (!eeprom_available) {
		LOG_WRN("EEPROM not available, settings reset in RAM only");
		return 0;
	}

	update_crc();
	ret = eeprom_write_verified();
	if (ret < 0) {
		LOG_ERR("Failed to reset settings: %d", ret);
		return ret;
	}

	LOG_INF("E310 settings reset to defaults");
	return 0;
}

bool e310_settings_is_available(void)
{
	return eeprom_available;
}

int e310_settings_set_rf_power(uint8_t power)
{
	if (power > E310_RF_POWER_MAX) {
		return -EINVAL;
	}

	settings.rf_power = power;
	return e310_settings_save();
}

uint8_t e310_settings_get_rf_power(void)
{
	return settings.rf_power;
}

int e310_settings_set_antenna(uint8_t config)
{
	settings.antenna_config = config;
	return e310_settings_save();
}

uint8_t e310_settings_get_antenna(void)
{
	return settings.antenna_config;
}

int e310_settings_set_frequency(uint8_t region, uint8_t start, uint8_t end)
{
	if (region < E310_FREQ_REGION_MIN || region > E310_FREQ_REGION_MAX) {
		return -EINVAL;
	}
	if (start > E310_FREQ_INDEX_MAX || end > E310_FREQ_INDEX_MAX) {
		return -EINVAL;
	}

	settings.freq_region = region;
	settings.freq_start = start;
	settings.freq_end = end;
	return e310_settings_save();
}

void e310_settings_get_frequency(uint8_t *region, uint8_t *start, uint8_t *end)
{
	if (region) {
		*region = settings.freq_region;
	}
	if (start) {
		*start = settings.freq_start;
	}
	if (end) {
		*end = settings.freq_end;
	}
}

int e310_settings_set_inventory_time(uint8_t time)
{
	if (time < E310_INVENTORY_TIME_MIN) {
		return -EINVAL;
	}

	settings.inventory_time = time;
	return e310_settings_save();
}

uint8_t e310_settings_get_inventory_time(void)
{
	return settings.inventory_time;
}

int e310_settings_set_reader_addr(uint8_t addr)
{
	settings.reader_addr = addr;
	return e310_settings_save();
}

uint8_t e310_settings_get_reader_addr(void)
{
	return settings.reader_addr;
}

int e310_settings_set_typing_speed(uint16_t cpm)
{
	if (cpm < E310_TYPING_SPEED_MIN || cpm > E310_TYPING_SPEED_MAX) {
		return -EINVAL;
	}

	settings.typing_speed = cpm;
	return e310_settings_save();
}

uint16_t e310_settings_get_typing_speed(void)
{
	return settings.typing_speed;
}

int e310_settings_set_beep_pulse(uint16_t ms)
{
	if (ms < E310_BEEP_PULSE_MIN || ms > E310_BEEP_PULSE_MAX) {
		return -EINVAL;
	}

	settings.beep_pulse_ms = ms;
	return e310_settings_save();
}

uint16_t e310_settings_get_beep_pulse(void)
{
	return settings.beep_pulse_ms;
}

int e310_settings_set_beep_filter(uint16_t ms)
{
	if (ms < E310_BEEP_FILTER_MIN || ms > E310_BEEP_FILTER_MAX) {
		return -EINVAL;
	}

	settings.beep_filter_ms = ms;
	return e310_settings_save();
}

uint16_t e310_settings_get_beep_filter(void)
{
	return settings.beep_filter_ms;
}

int e310_settings_set_epc_debounce(uint8_t sec)
{
	if (sec > E310_EPC_DEBOUNCE_MAX) {
		return -EINVAL;
	}

	settings.epc_debounce_sec = sec;
	return e310_settings_save();
}

uint8_t e310_settings_get_epc_debounce(void)
{
	return settings.epc_debounce_sec;
}

int e310_settings_set_inventory_interval(uint16_t ms)
{
	if (ms > E310_INV_INTERVAL_MAX) {
		return -EINVAL;
	}

	settings.inventory_interval_ms = ms;
	return e310_settings_save();
}

uint16_t e310_settings_get_inventory_interval(void)
{
	return settings.inventory_interval_ms;
}

int e310_settings_set_rgb_brightness(uint8_t percent)
{
	if (percent > E310_RGB_BRIGHTNESS_MAX) {
		return -EINVAL;
	}

	settings.rgb_brightness = percent;
	return e310_settings_save();
}

uint8_t e310_settings_get_rgb_brightness(void)
{
	return settings.rgb_brightness;
}

void e310_settings_print(const struct shell *sh)
{
	const char *region_str;

	switch (settings.freq_region) {
	case E310_FREQ_REGION_CHINA:
		region_str = "China";
		break;
	case E310_FREQ_REGION_US:
		region_str = "US";
		break;
	case E310_FREQ_REGION_EUROPE:
		region_str = "Europe";
		break;
	case E310_FREQ_REGION_KOREA:
		region_str = "Korea";
		break;
	default:
		region_str = "Unknown";
		break;
	}

	if (sh) {
		shell_print(sh, "=== E310 Settings ===");
		shell_print(sh, "  EEPROM:       %s", eeprom_available ? "Available" : "Not available");
		shell_print(sh, "  RF Power:     %d dBm", settings.rf_power);
		shell_print(sh, "  Antenna:      0x%02x", settings.antenna_config);
		shell_print(sh, "  Freq Region:  %s (%d)", region_str, settings.freq_region);
		shell_print(sh, "  Freq Range:   %d - %d", settings.freq_start, settings.freq_end);
		shell_print(sh, "  Inv Time:     %d (%.1f sec)", settings.inventory_time,
			    (double)(settings.inventory_time * 0.1f));
		shell_print(sh, "  Reader Addr:  0x%02x", settings.reader_addr);
		shell_print(sh, "  Typing Speed: %d CPM", settings.typing_speed);
		shell_print(sh, "  Beep Pulse:   %d ms", settings.beep_pulse_ms);
		shell_print(sh, "  Beep Filter:  %d ms", settings.beep_filter_ms);
		shell_print(sh, "  EPC Debounce: %d sec", settings.epc_debounce_sec);
		shell_print(sh, "  Inv Interval: %d ms", settings.inventory_interval_ms);
		shell_print(sh, "  RGB Bright:   %d %%", settings.rgb_brightness);
		shell_print(sh, "  Changed:      %s",
			    (settings.flags & E310_FLAG_SETTINGS_CHANGED) ? "Yes" : "No");
	} else {
		LOG_INF("E310 Settings: RF=%d dBm, Ant=0x%02x, Freq=%s/%d-%d, Inv=%d, Speed=%d",
			settings.rf_power, settings.antenna_config,
			region_str, settings.freq_start, settings.freq_end,
			settings.inventory_time, settings.typing_speed);
	}

}
```
